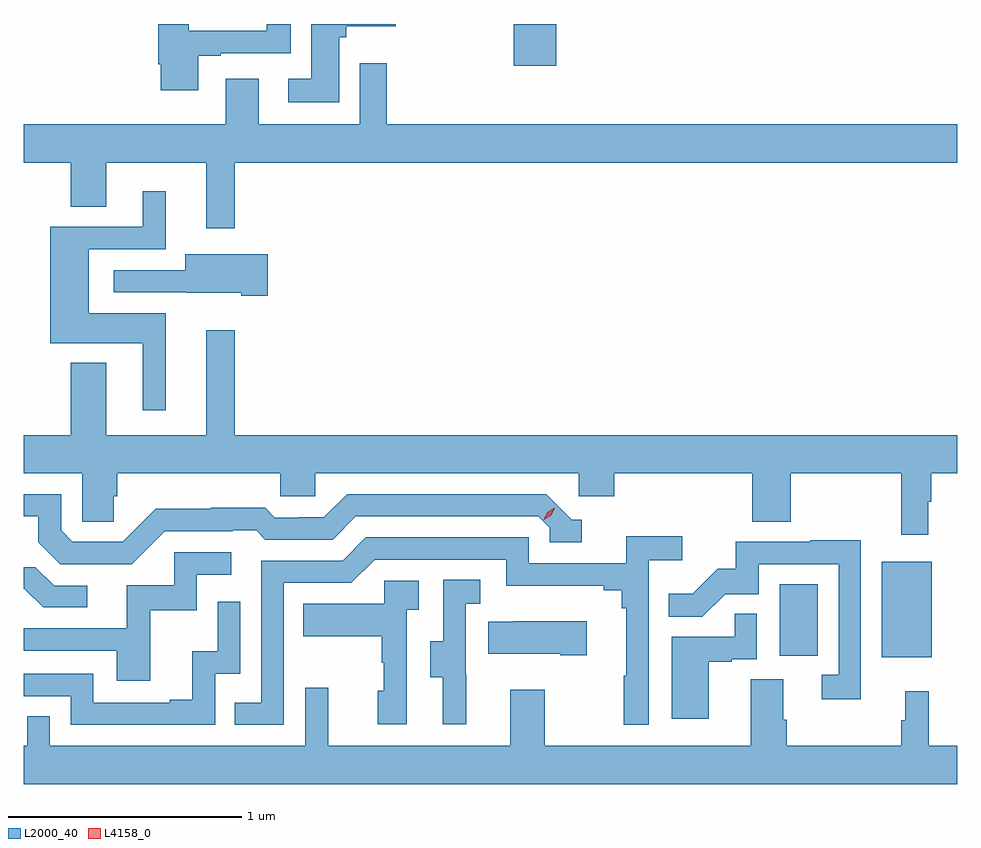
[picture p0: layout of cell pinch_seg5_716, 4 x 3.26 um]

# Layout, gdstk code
import gdstk
lib = gdstk.Library(unit=1e-6, precision=1e-09)
def R(c, l, rs):  # rectangles x0, y0, x1, y1
    for r in rs: c.add(gdstk.rectangle(r[:2], r[2:], *l))
def P(c, l, *ps):  # polygons
    for p in ps: c.add(gdstk.Polygon(p, *l))
L2000_40 = (2000, 40)
L4158_0 = (4158, 0)

pinch_seg5_716 = lib.new_cell('pinch_seg5_716')
R(pinch_seg5_716, L2000_40, [(1083.104,849.311,1083.319,849.721), (1082.666,849.318,1082.83,849.625), (1081.526,851.847,1081.709,852.026)])
P(pinch_seg5_716, L2000_40, [(1080.778,851.97),(1080.809,851.97),(1080.809,852.017),(1081.021,852.017),(1081.021,852.026),(1080.659,852.026),(1080.659,851.791),(1080.561,851.791),(1080.561,851.69),(1080.778,851.69)],
  [(1080.175,851.889),(1080.271,851.889),(1080.271,851.901),(1080.571,851.901),(1080.571,852.026),(1080.467,852.026),(1080.467,851.997),(1080.133,851.997),(1080.133,852.026),(1080.002,852.026),(1080.002,851.854),(1080.014,851.854),(1080.014,851.742),(1080.175,851.742)],
  [(1080.331,851.432),(1083.427,851.432),(1083.427,851.596),(1080.983,851.596),(1080.983,851.857),(1080.867,851.857),(1080.867,851.596),(1080.433,851.596),(1080.433,851.791),(1080.293,851.791),(1080.293,851.596),(1079.427,851.596),(1079.427,851.432),(1079.627,851.432),(1079.627,851.242),(1079.779,851.242),(1079.779,851.432),(1080.209,851.432),(1080.209,851.151),(1080.331,851.151)],
  [(1080.034,850.786),(1079.704,850.786),(1079.704,851.061),(1080.034,851.061),(1080.034,851.308),(1079.936,851.308),(1079.936,851.157),(1079.54,851.157),(1079.54,850.658),(1079.936,850.658),(1079.936,850.371),(1080.034,850.371)],
  [(1080.472,851.04),(1080.119,851.04),(1080.119,850.971),(1079.811,850.971),(1079.811,850.875),(1080.123,850.875),(1080.123,850.874),(1080.359,850.874),(1080.359,850.862),(1080.472,850.862)],
  [(1083.304,849.977),(1083.316,849.977),(1083.316,850.1),(1083.427,850.1),(1083.427,850.264),(1080.331,850.264),(1080.331,850.714),(1080.209,850.714),(1080.209,850.264),(1079.779,850.264),(1079.779,850.573),(1079.627,850.573),(1079.627,850.264),(1079.427,850.264),(1079.427,850.1),(1079.676,850.1),(1079.676,849.892),(1079.813,849.892),(1079.813,850.002),(1079.828,850.002),(1079.828,850.1),(1080.525,850.1),(1080.525,850.002),(1080.675,850.002),(1080.675,850.1),(1081.806,850.1),(1081.806,850.002),(1081.958,850.002),(1081.958,850.1),(1082.549,850.1),(1082.549,849.892),(1082.714,849.892),(1082.714,850.1),(1083.187,850.1),(1083.187,849.837),(1083.304,849.837)],
  [(1080.03,849.852),(1080.323,849.852),(1080.323,849.855),(1080.422,849.855),(1080.461,849.816),(1080.75,849.816),(1080.849,849.915),(1081.632,849.915),(1081.68,849.867),(1081.68,849.804),(1081.819,849.804),(1081.819,849.9),(1081.776,849.9),(1081.665,850.011),(1080.812,850.011),(1080.713,849.912),(1080.606,849.912),(1080.606,849.909),(1080.503,849.909),(1080.461,849.952),(1080.228,849.952),(1080.228,849.949),(1079.992,849.949),(1079.85,849.807),(1079.634,849.807),(1079.586,849.855),(1079.586,850.011),(1079.427,850.011),(1079.427,849.915),(1079.489,849.915),(1079.489,849.805),(1079.583,849.711),(1079.889,849.711)],
  [(1080.54,849.63),(1080.831,849.63),(1080.93,849.729),(1081.494,849.729),(1081.494,849.617),(1081.913,849.617),(1081.913,849.598),(1081.99,849.598),(1081.99,849.521),(1082.009,849.521),(1082.009,849.233),(1081.998,849.233),(1081.998,849.021),(1082.106,849.021),(1082.106,849.728),(1082.248,849.728),(1082.248,849.83),(1082.009,849.83),(1082.009,849.714),(1081.59,849.714),(1081.59,849.825),(1080.893,849.825),(1080.794,849.726),(1080.444,849.726),(1080.444,849.117),(1080.331,849.117),(1080.331,849.021),(1080.54,849.021)],
  [(1083.015,849.812),(1082.797,849.812),(1082.797,849.807),(1082.479,849.807),(1082.479,849.69),(1082.402,849.69),(1082.295,849.583),(1082.191,849.583),(1082.191,849.484),(1082.335,849.484),(1082.433,849.582),(1082.577,849.582),(1082.577,849.711),(1082.919,849.711),(1082.919,849.237),(1082.847,849.237),(1082.847,849.132),(1083.015,849.132)],
  [(1079.969,849.513),(1080.168,849.513),(1080.168,849.666),(1080.316,849.666),(1080.316,849.762),(1080.072,849.762),(1080.072,849.621),(1079.867,849.621),(1079.867,849.435),(1079.427,849.435),(1079.427,849.339),(1079.825,849.339),(1079.825,849.21),(1079.969,849.21)],
  [(1079.698,849.618),(1079.556,849.618),(1079.476,849.698),(1079.427,849.698),(1079.427,849.606),(1079.429,849.606),(1079.51,849.525),(1079.698,849.525)],
  [(1081.322,849.237),(1081.32,849.237),(1081.32,849.541),(1081.384,849.541),(1081.384,849.644),(1081.224,849.644),(1081.224,849.381),(1081.169,849.381),(1081.169,849.226),(1081.223,849.226),(1081.223,849.024),(1081.322,849.024)],
  [(1081.068,849.515),(1081.12,849.515),(1081.12,849.639),(1080.972,849.639),(1080.972,849.541),(1080.625,849.541),(1080.625,849.401),(1080.96,849.401),(1080.96,849.287),(1080.97,849.287),(1080.97,849.168),(1080.944,849.168),(1080.944,849.024),(1081.068,849.024)],
  [(1080.246,849.24),(1080.354,849.24),(1080.354,849.55),(1080.258,849.55),(1080.258,849.338),(1080.149,849.338),(1080.149,849.13),(1080.053,849.13),(1080.053,849.117),(1079.724,849.117),(1079.724,849.24),(1079.427,849.24),(1079.427,849.144),(1079.628,849.144),(1079.628,849.021),(1080.246,849.021)],
  [(1082.362,849.291),(1082.462,849.291),(1082.462,849.303),(1082.568,849.303),(1082.568,849.497),(1082.473,849.497),(1082.473,849.399),(1082.204,849.399),(1082.204,849.048),(1082.362,849.048)],
  [(1081.84,849.466),(1081.525,849.466),(1081.525,849.463),(1081.417,849.463),(1081.417,849.326),(1081.727,849.326),(1081.727,849.319),(1081.84,849.319)],
  [(1083.427,848.932),(1083.305,848.932),(1083.305,849.166),(1083.206,849.166),(1083.206,849.041),(1083.187,849.041),(1083.187,848.932),(1082.696,848.932),(1082.696,849.044),(1082.683,849.044),(1082.683,849.218),(1082.543,849.218),(1082.543,848.932),(1081.659,848.932),(1081.659,849.172),(1081.511,849.172),(1081.511,848.932),(1080.731,848.932),(1080.731,849.181),(1080.633,849.181),(1080.633,848.932),(1079.538,848.932),(1079.538,849.059),(1079.442,849.059),(1079.442,848.932),(1079.427,848.932),(1079.427,848.768),(1083.427,848.768)])
P(pinch_seg5_716, L4158_0, [(1081.655,849.901),(1081.655,849.902),(1081.672,849.934),(1081.703,849.953),(1081.703,849.953),(1081.703,849.953),(1081.687,849.921),(1081.656,849.901)])

lib.write_gds('pinch_seg5_716.gds')
